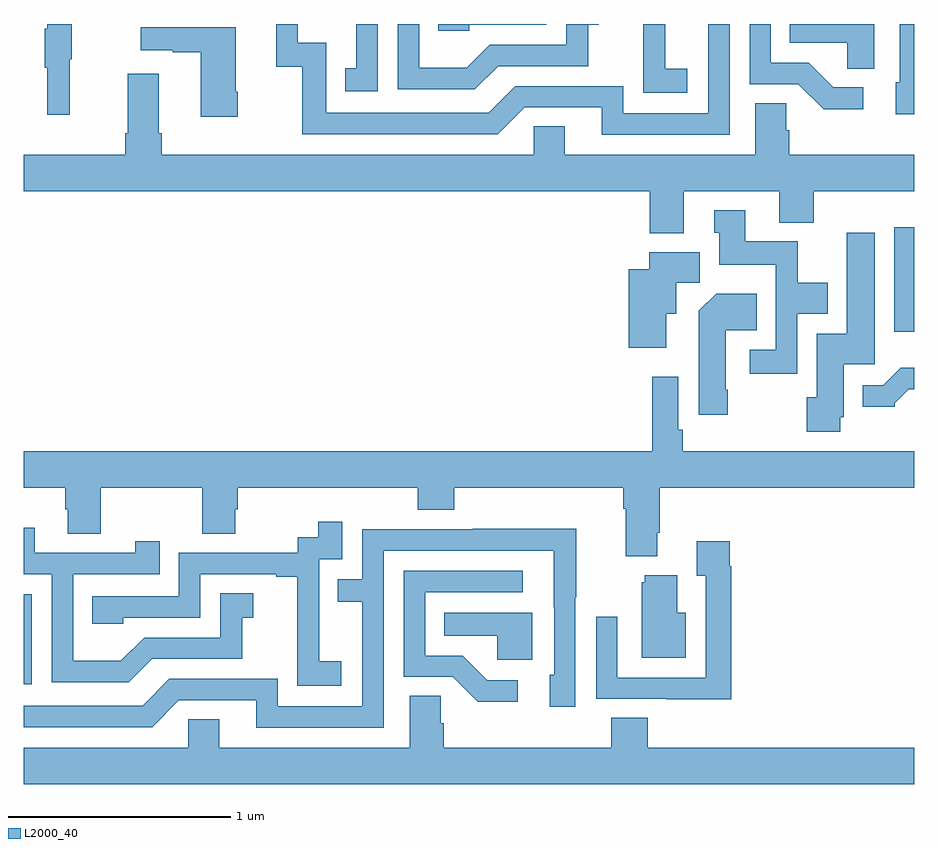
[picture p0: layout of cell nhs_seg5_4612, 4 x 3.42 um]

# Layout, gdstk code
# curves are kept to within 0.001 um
import gdstk
lib = gdstk.Library(unit=1e-6, precision=1e-09)
def R(c, l, rs):  # rectangles x0, y0, x1, y1
    for r in rs: c.add(gdstk.rectangle(r[:2], r[2:], *l))
def P(c, l, *ps):  # polygons
    for p in ps: c.add(gdstk.Polygon(p, *l))
L2000_40 = (2000, 40)

nhs_seg5_4612 = lib.new_cell('nhs_seg5_4612')
R(nhs_seg5_4612, L2000_40, [(381,899.832,381.036,900.237), (384.911,901.416,385,901.885)])
P(nhs_seg5_4612, L2000_40, [(385,902.799),(384.936,902.799),(384.936,902.538),(384.917,902.538),(384.917,902.394),(385,902.394)],
  [(384.171,902.799),(384.075,902.799),(384.075,902.397),(383.694,902.397),(383.694,902.52),(383.208,902.52),(383.088,902.4),(382.359,902.4),(382.359,902.715),(382.23,902.715),(382.23,902.799),(382.133,902.799),(382.133,902.607),(382.251,902.607),(382.251,902.304),(383.13,902.304),(383.25,902.424),(383.597,902.424),(383.597,902.301),(384.171,902.301)],
  [(384.772,902.514),(384.637,902.514),(384.526,902.625),(384.357,902.625),(384.357,902.799),(384.261,902.799),(384.261,902.529),(384.48,902.529),(384.593,902.417),(384.772,902.417)],
  [(383.98,902.599),(383.882,902.599),(383.882,902.799),(383.783,902.799),(383.783,902.695),(383.782,902.695),(383.782,902.489),(383.98,902.489)],
  [(383.001,902.796),(383.346,902.796),(383.346,902.799),(382.861,902.799),(382.861,902.769),(383.001,902.769)],
  [(381.206,902.64),(381.214,902.64),(381.214,902.799),(381.104,902.799),(381.104,902.777),(381.093,902.777),(381.093,902.603),(381.104,902.603),(381.104,902.391),(381.206,902.391)],
  [(382.59,902.799),(382.493,902.799),(382.493,902.601),(382.444,902.601),(382.444,902.496),(382.59,902.496)],
  [(383.131,902.61),(383.535,902.61),(383.535,902.795),(383.584,902.795),(383.584,902.799),(383.436,902.799),(383.436,902.706),(383.094,902.706),(382.99,902.602),(382.776,902.602),(382.776,902.799),(382.68,902.799),(382.68,902.505),(383.026,902.505)],
  [(384.82,902.799),(384.442,902.799),(384.442,902.714),(384.699,902.714),(384.699,902.599),(384.82,902.599)],
  [(381.96,902.494),(381.952,902.494),(381.952,902.785),(381.525,902.785),(381.525,902.681),(381.668,902.681),(381.668,902.671),(381.794,902.671),(381.794,902.382),(381.96,902.382)],
  [(383.965,902.048),(384.395,902.048),(384.395,901.907),(384.548,901.907),(384.548,902.048),(385,902.048),(385,902.212),(384.44,902.212),(384.44,902.321),(384.426,902.321),(384.426,902.444),(384.287,902.444),(384.287,902.212),(383.431,902.212),(383.431,902.339),(383.292,902.339),(383.292,902.212),(381.62,902.212),(381.62,902.308),(381.607,902.308),(381.607,902.575),(381.467,902.575),(381.467,902.308),(381.455,902.308),(381.455,902.212),(381,902.212),(381,902.048),(383.813,902.048),(383.813,901.859),(383.965,901.859)],
  [(384.474,901.496),(384.613,901.496),(384.613,901.636),(384.477,901.636),(384.477,901.822),(384.241,901.822),(384.241,901.963),(384.101,901.963),(384.101,901.86),(384.125,901.86),(384.125,901.718),(384.378,901.718),(384.378,901.335),(384.261,901.335),(384.261,901.227),(384.474,901.227)],
  [(384.669,901.032),(384.685,901.032),(384.685,901.269),(384.823,901.269),(384.823,901.861),(384.698,901.861),(384.698,901.408),(384.563,901.408),(384.563,901.122),(384.517,901.122),(384.517,900.966),(384.669,900.966)],
  [(383.887,901.496),(383.932,901.496),(383.932,901.636),(384.037,901.636),(384.037,901.774),(383.81,901.774),(383.81,901.696),(383.717,901.696),(383.717,901.344),(383.887,901.344)],
  [(384.162,901.156),(384.154,901.156),(384.154,901.424),(384.293,901.424),(384.293,901.588),(384.11,901.588),(384.032,901.51),(384.032,901.044),(384.162,901.044)],
  [(384.912,901.094),(384.976,901.158),(385,901.158),(385,901.255),(384.94,901.255),(384.861,901.176),(384.77,901.176),(384.77,901.079),(384.912,901.079)],
  [(383.845,900.514),(383.858,900.514),(383.858,900.716),(385,900.716),(385,900.88),(383.96,900.88),(383.96,900.976),(383.94,900.976),(383.94,901.213),(383.824,901.213),(383.824,900.88),(381,900.88),(381,900.716),(381.185,900.716),(381.185,900.618),(381.197,900.618),(381.197,900.508),(381.345,900.508),(381.345,900.716),(381.802,900.716),(381.802,900.508),(381.949,900.508),(381.949,900.618),(381.962,900.618),(381.962,900.716),(382.769,900.716),(382.769,900.617),(382.934,900.617),(382.934,900.716),(383.693,900.716),(383.693,900.62),(383.705,900.62),(383.705,900.407),(383.845,900.407)],
  [(382.426,899.935),(382.328,899.935),(382.328,900.164),(382.326,900.164),(382.326,900.393),(382.431,900.393),(382.431,900.562),(382.323,900.562),(382.323,900.492),(382.23,900.492),(382.23,900.423),(381.696,900.423),(381.696,900.228),(381.307,900.228),(381.307,900.105),(381.447,900.105),(381.447,900.132),(381.792,900.132),(381.792,900.327),(382.133,900.327),(382.133,900.315),(382.229,900.315),(382.229,900.031),(382.228,900.031),(382.228,899.825),(382.426,899.825)],
  [(381.577,899.946),(381.981,899.946),(381.981,900.131),(382.03,900.131),(382.03,900.241),(381.882,900.241),(381.882,900.042),(381.54,900.042),(381.436,899.938),(381.222,899.938),(381.222,900.327),(381.611,900.327),(381.611,900.475),(381.5,900.475),(381.5,900.423),(381.049,900.423),(381.049,900.535),(381,900.535),(381,900.327),(381.126,900.327),(381.126,899.841),(381.472,899.841)],
  [(382.617,900.432),(383.381,900.432),(383.382,899.874),(383.363,899.874),(383.363,899.73),(383.478,899.73),(383.478,900.223),(383.481,900.223),(383.481,900.53),(383.017,900.53),(383.017,900.528),(382.521,900.528),(382.521,900.303),(382.411,900.303),(382.411,900.202),(382.521,900.202),(382.521,899.733),(382.14,899.733),(382.14,899.856),(381.654,899.856),(381.534,899.736),(381,899.736),(381,899.64),(381.576,899.64),(381.696,899.76),(382.043,899.76),(382.043,899.637),(382.617,899.637)],
  [(384.179,900.362),(384.172,900.362),(384.172,900.475),(384.023,900.475),(384.023,900.319),(384.063,900.319),(384.063,899.862),(383.667,899.862),(383.667,900.136),(383.571,900.136),(383.571,899.766),(383.887,899.766),(383.887,899.765),(384.179,899.765)],
  [(383.218,899.85),(383.083,899.85),(382.972,899.961),(382.803,899.961),(382.803,900.246),(383.242,900.246),(383.242,900.342),(382.707,900.342),(382.707,899.865),(382.926,899.865),(383.039,899.753),(383.218,899.753)],
  [(383.974,900.154),(383.935,900.154),(383.935,900.322),(383.789,900.322),(383.789,900.291),(383.777,900.291),(383.777,899.951),(383.974,899.951)],
  [(383.284,900.154),(382.888,900.154),(382.888,900.05),(383.127,900.05),(383.127,899.942),(383.284,899.942)],
  [(385,899.548),(383.804,899.548),(383.804,899.681),(383.639,899.681),(383.639,899.548),(382.886,899.548),(382.886,899.657),(382.872,899.657),(382.872,899.78),(382.733,899.78),(382.733,899.548),(381.877,899.548),(381.877,899.675),(381.738,899.675),(381.738,899.548),(381,899.548),(381,899.384),(385,899.384)])

lib.write_gds('nhs_seg5_4612.gds')
